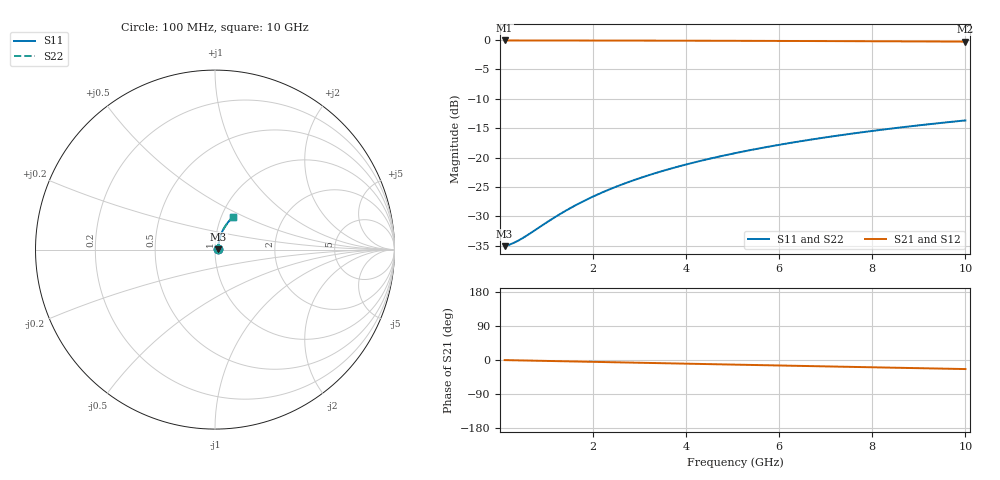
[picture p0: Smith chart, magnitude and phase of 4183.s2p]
# Hz S RI R 50.00
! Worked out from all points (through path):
!   100 points, 100 MHz to 10 GHz, reference 50 ohm
!   highest |S21| = -0.15 dB at 100 MHz (marker M1); lowest = -0.4 dB at 10 GHz (marker M2)
!   group delay of S21, straight-line fit = 6.65 ps
!   lowest |S11| = -35.0 dB at 100 MHz (marker M3), VSWR 1.04, Z = 51.8 + j0.215 ohm
!   |S11| at or under -10 dB: start of sweep to end of sweep
!   |S22| runs from -35.0 to -13.7 dB; largest |S21 - S12| = 0
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1e8  0.0176 0.00208  0.9824 -0.00416  0.9824 -0.00416  0.0176 0.00208
2e8  0.0177 0.00415  0.9823 -0.00832  0.9823 -0.00832  0.0177 0.00415
3e8  0.0179 0.00622  0.9821 -0.0125  0.9821 -0.0125  0.0179 0.00622
4e8  0.018 0.00829  0.982 -0.0166  0.982 -0.0166  0.018 0.00829
6e8  0.0183 0.0124  0.9816 -0.0249  0.9816 -0.0249  0.0183 0.0124
1e9  0.019 0.0207  0.9808 -0.0415  0.9808 -0.0415  0.019 0.0207
1.3e9  0.0197 0.0269  0.9799 -0.054  0.9799 -0.054  0.0197 0.0269
1.5e9  0.0202 0.031  0.9792 -0.0623  0.9792 -0.0623  0.0202 0.031
1.8e9  0.0212 0.0371  0.9781 -0.0747  0.9781 -0.0747  0.0212 0.0371
2.1e9  0.0223 0.0432  0.9767 -0.087  0.9767 -0.087  0.0223 0.0432
2.5e9  0.024 0.0513  0.9746 -0.1035  0.9746 -0.1035  0.024 0.0513
2.9e9  0.0259 0.0593  0.9722 -0.1198  0.9722 -0.1198  0.0259 0.0593
3.4e9  0.0287 0.0692  0.9687 -0.1402  0.9687 -0.1402  0.0287 0.0692
3.8e9  0.0313 0.0771  0.9655 -0.1563  0.9655 -0.1563  0.0313 0.0771
4.2e9  0.0341 0.0848  0.962 -0.1724  0.962 -0.1724  0.0341 0.0848
4.6e9  0.0371 0.0924  0.9582 -0.1884  0.9582 -0.1884  0.0371 0.0924
5.1e9  0.0413 0.1018  0.9529 -0.2082  0.9529 -0.2082  0.0413 0.1018
5.9e9  0.0487 0.1163  0.9435 -0.2394  0.9435 -0.2394  0.0487 0.1163
6.7e9  0.0571 0.1303  0.9329 -0.2701  0.9329 -0.2701  0.0571 0.1303
7.5e9  0.0663 0.1436  0.9211 -0.3001  0.9211 -0.3001  0.0663 0.1436
8.4e9  0.0777 0.1577  0.9066 -0.333  0.9066 -0.333  0.0777 0.1577
1e10  0.1001 0.1803  0.8775 -0.3891  0.8775 -0.3891  0.1001 0.1803
